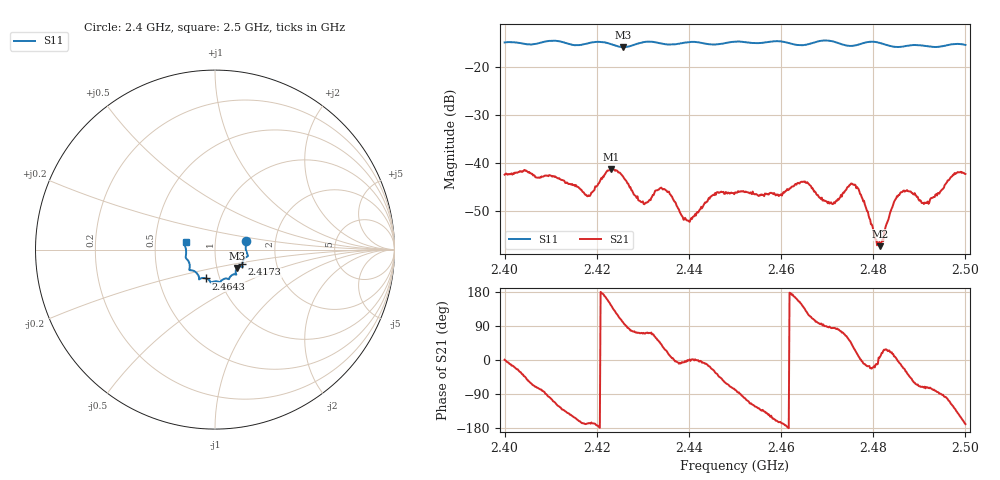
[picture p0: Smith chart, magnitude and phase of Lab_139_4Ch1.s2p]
# Hz S RI R 50
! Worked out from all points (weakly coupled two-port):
!   601 points, 2.4 GHz to 2.5 GHz, reference 50 ohm
!   highest |S21| = -41.24 dB at 2.4232 GHz (marker M1); lowest = -57.3 dB at 2.4815 GHz (marker M2)
!   lowest |S11| = -15.9 dB at 2.4257 GHz (marker M3), VSWR 1.38, Z = 62.5 - j13.1 ohm
!   |S11| at or under -10 dB: start of sweep to end of sweep
!   S12 and S22 are empty: the file has one direction only
!   S11 on the Smith chart (normalised r, x): 2.4 GHz: 1.41, +0.14; 2.4173 GHz: 1.34, -0.23; 2.4643 GHz: 0.86, -0.28; 2.5 GHz: 0.72, +0.06
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2.4e9  0.1729 0.0491  0.00757 8.05e-05  0 0  0 0
2.410167e9  0.1839 -0.0342  -0.00169 -0.00716  0 0  0 0
2.416667e9  0.1525 -0.0744  -0.00511 -0.00133  0 0  0 0
2.417333e9  0.1517 -0.0819  -0.00469 -0.00102  0 0  0 0
2.423167e9  0.1444 -0.0937  -0.00694 0.0052  0 0  0 0
2.425667e9  0.1233 -0.1023  -0.00127 0.00718  0 0  0 0
2.43e9  0.1175 -0.1369  0.00138 0.00375  0 0  0 0
2.433333e9  0.1125 -0.1376  0.00326 0.00416  0 0  0 0
2.4355e9  0.0976 -0.1403  0.00479 0.00146  0 0  0 0
2.439833e9  0.0792 -0.1626  0.00252 -6.33e-05  0 0  0 0
2.445167e9  0.0544 -0.1621  0.0042 -0.00197  0 0  0 0
2.45e9  0.0288 -0.181  0.000958 -0.00485  0 0  0 0
2.459833e9  -0.0242 -0.1829  -0.00447 -0.00134  0 0  0 0
2.464333e9  -0.0501 -0.1605  -0.00544 0.00331  0 0  0 0
2.466667e9  -0.0758 -0.1592  -0.00192 0.00511  0 0  0 0
2.471167e9  -0.0878 -0.1622  0.00036 0.00373  0 0  0 0
2.476e9  -0.1164 -0.1192  0.00533 0.00272  0 0  0 0
2.4815e9  -0.1419 -0.106  0.00135 0.000208  0 0  0 0
2.483333e9  -0.1405 -0.0896  0.00239 0.0011  0 0  0 0
2.486333e9  -0.1509 -0.0602  0.00477 -0.00154  0 0  0 0
2.4915e9  -0.1615 -0.0303  0.00122 -0.00368  0 0  0 0
2.5e9  -0.1637 0.0428  -0.00755 -0.00147  0 0  0 0
